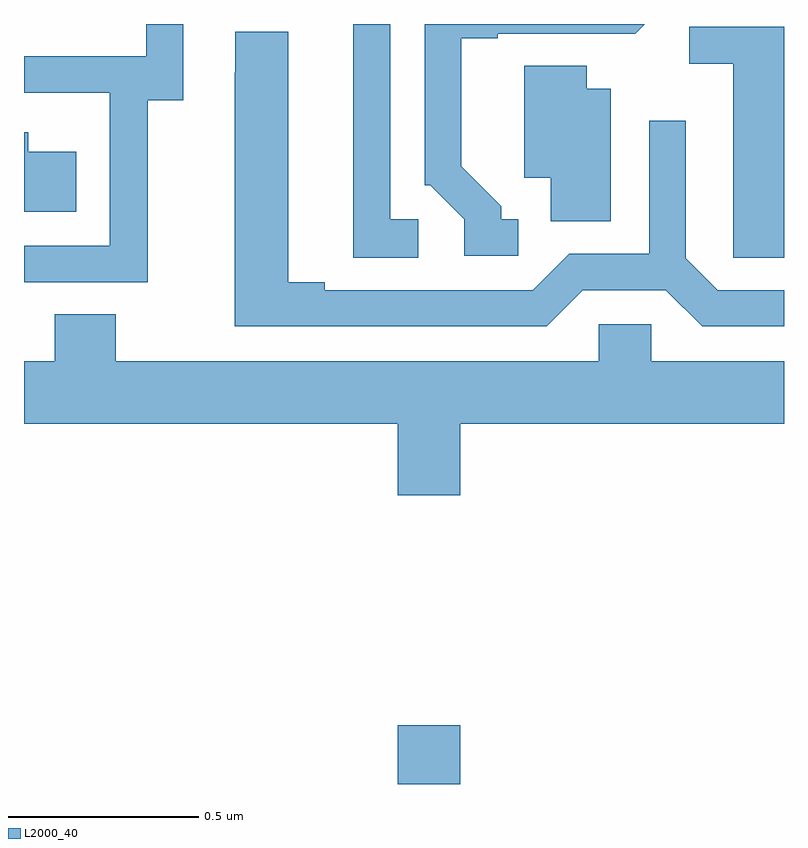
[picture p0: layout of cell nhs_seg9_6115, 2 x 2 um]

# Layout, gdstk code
import gdstk
lib = gdstk.Library(unit=1e-6, precision=1e-09)
def R(c, l, rs):  # rectangles x0, y0, x1, y1
    for r in rs: c.add(gdstk.rectangle(r[:2], r[2:], *l))
def P(c, l, *ps):  # polygons
    for p in ps: c.add(gdstk.Polygon(p, *l))
L2000_40 = (2000, 40)

nhs_seg9_6115 = lib.new_cell('nhs_seg9_6115')
R(nhs_seg9_6115, L2000_40, [(188.984,1167.5,189.148,1167.655)])
P(nhs_seg9_6115, L2000_40, [(189.301,1168.986),(189.256,1168.986),(189.256,1169.021),(189.151,1169.126),(189.151,1169.463),(189.247,1169.463),(189.247,1169.475),(189.512,1169.475),(189.512,1169.474),(189.608,1169.474),(189.634,1169.5),(189.054,1169.5),(189.054,1169.076),(189.069,1169.076),(189.159,1168.986),(189.159,1168.89),(189.301,1168.89)],
  [(188.325,1169.299),(188.419,1169.299),(188.419,1169.5),(188.322,1169.5),(188.322,1169.415),(188,1169.415),(188,1169.319),(188.225,1169.319),(188.225,1169.318),(188.226,1169.318),(188.226,1168.917),(188,1168.917),(188,1168.821),(188.325,1168.821)],
  [(189.037,1168.986),(188.964,1168.986),(188.964,1169.5),(188.867,1169.5),(188.867,1168.885),(189.037,1168.885)],
  [(190,1169.493),(189.75,1169.493),(189.75,1169.396),(189.866,1169.396),(189.866,1168.993),(189.867,1168.993),(189.867,1168.885),(190,1168.885)],
  [(189.471,1168.8),(189.689,1168.8),(189.785,1168.704),(190,1168.704),(190,1168.8),(189.825,1168.8),(189.741,1168.884),(189.741,1169.245),(189.645,1169.245),(189.645,1168.896),(189.435,1168.896),(189.339,1168.8),(188.791,1168.8),(188.791,1168.82),(188.695,1168.82),(188.695,1169.48),(188.556,1169.48),(188.556,1169.372),(188.555,1169.372),(188.555,1168.704),(189.375,1168.704)],
  [(189.544,1169.329),(189.481,1169.329),(189.481,1169.39),(189.317,1169.39),(189.317,1169.096),(189.386,1169.096),(189.386,1168.981),(189.544,1168.981)],
  [(188.137,1169.164),(188.011,1169.164),(188.011,1169.215),(188,1169.215),(188,1169.006),(188.137,1169.006)],
  [(189.148,1168.448),(190,1168.448),(190,1168.612),(189.651,1168.612),(189.651,1168.71),(189.513,1168.71),(189.513,1168.612),(188.241,1168.612),(188.241,1168.736),(188.081,1168.736),(188.081,1168.612),(188,1168.612),(188,1168.448),(188.984,1168.448),(188.984,1168.26),(189.148,1168.26)])

lib.write_gds('nhs_seg9_6115.gds')
